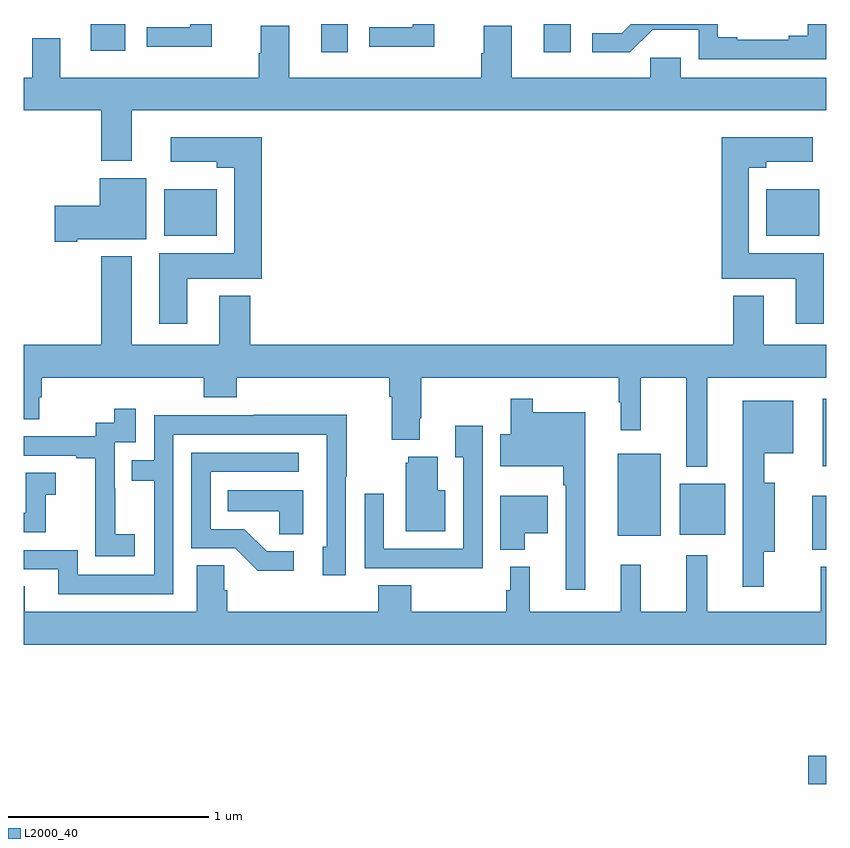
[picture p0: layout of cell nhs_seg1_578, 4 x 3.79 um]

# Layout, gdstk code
import gdstk
lib = gdstk.Library(unit=1e-6, precision=1e-09)
def R(c, l, rs):  # rectangles x0, y0, x1, y1
    for r in rs: c.add(gdstk.rectangle(r[:2], r[2:], *l))
def P(c, l, *ps):  # polygons
    for p in ps: c.add(gdstk.Polygon(p, *l))
L2000_40 = (2000, 40)

nhs_seg1_578 = lib.new_cell('nhs_seg1_578')
R(nhs_seg1_578, L2000_40, [(146.91,512.41,147,512.552), (146.93,513.578,147,513.847), (145.961,513.647,146.176,514.057), (146.27,513.653,146.497,513.907), (146.982,513.995,147,514.33), (143.699,515.144,143.962,515.374), (146.702,515.144,146.965,515.374), (144.482,516.057,144.616,516.199), (145.592,516.057,145.726,516.199), (143.334,516.066,143.506,516.199)])
P(nhs_seg1_578, L2000_40, [(145.047,516.199),(144.939,516.199),(144.939,516.184),(144.723,516.184),(144.723,516.086),(145.047,516.086)],
  [(147,516.199),(146.909,516.199),(146.909,516.14),(146.813,516.14),(146.813,516.12),(146.557,516.12),(146.557,516.134),(146.46,516.134),(146.46,516.199),(146.026,516.199),(145.981,516.154),(145.833,516.154),(145.833,516.057),(146.022,516.057),(146.135,516.17),(146.364,516.17),(146.364,516.024),(147,516.024)],
  [(143.937,516.199),(143.829,516.199),(143.829,516.184),(143.613,516.184),(143.613,516.086),(143.937,516.086)],
  [(143.539,515.768),(147,515.768),(147,515.932),(146.275,515.932),(146.275,516.03),(146.124,516.03),(146.124,515.932),(145.432,515.932),(145.432,516.19),(145.292,516.19),(145.292,516.053),(145.28,516.053),(145.28,515.932),(144.322,515.932),(144.322,516.19),(144.182,516.19),(144.182,516.053),(144.17,516.053),(144.17,515.932),(143.182,515.932),(143.182,516.127),(143.042,516.127),(143.042,515.932),(143,515.932),(143,515.768),(143.387,515.768),(143.387,515.516),(143.539,515.516)],
  [(143.815,514.928),(144.185,514.928),(144.185,515.635),(143.733,515.635),(143.733,515.513),(143.963,515.513),(143.963,515.483),(144.05,515.483),(144.05,515.056),(143.675,515.056),(143.675,514.704),(143.815,514.704)],
  [(146.989,515.056),(146.614,515.056),(146.614,515.483),(146.701,515.483),(146.701,515.513),(146.932,515.513),(146.932,515.635),(146.48,515.635),(146.48,514.928),(146.849,514.928),(146.849,514.704),(146.989,514.704)],
  [(143.266,515.126),(143.611,515.126),(143.611,515.431),(143.378,515.431),(143.378,515.292),(143.154,515.292),(143.154,515.114),(143.266,515.114)],
  [(146.407,514.436),(147,514.436),(147,514.6),(146.689,514.6),(146.689,514.843),(146.537,514.843),(146.537,514.6),(144.128,514.6),(144.128,514.843),(143.975,514.843),(143.975,514.6),(143.539,514.6),(143.539,515.041),(143.387,515.041),(143.387,514.6),(143,514.6),(143,514.228),(143.077,514.228),(143.077,514.338),(143.09,514.338),(143.09,514.436),(143.897,514.436),(143.897,514.337),(144.062,514.337),(144.062,514.436),(144.821,514.436),(144.821,514.34),(144.833,514.34),(144.833,514.127),(144.973,514.127),(144.973,514.234),(144.981,514.234),(144.981,514.436),(145.965,514.436),(145.965,514.313),(145.976,514.313),(145.976,514.173),(146.076,514.173),(146.076,514.436),(146.303,514.436),(146.303,513.992),(146.407,513.992)],
  [(145.798,514.264),(145.537,514.264),(145.537,514.33),(145.427,514.33),(145.427,514.153),(145.374,514.153),(145.374,513.995),(145.689,513.995),(145.689,513.899),(145.701,513.899),(145.701,513.378),(145.798,513.378)],
  [(146.689,513.569),(146.743,513.569),(146.743,513.913),(146.692,513.913),(146.692,514.058),(146.836,514.058),(146.836,514.321),(146.585,514.321),(146.585,513.393),(146.689,513.393)],
  [(143.554,513.655),(143.456,513.655),(143.456,513.884),(143.454,513.884),(143.454,514.113),(143.559,514.113),(143.559,514.282),(143.451,514.282),(143.451,514.212),(143.358,514.212),(143.358,514.143),(143,514.143),(143,514.047),(143.261,514.047),(143.261,514.035),(143.357,514.035),(143.357,513.751),(143.356,513.751),(143.356,513.545),(143.554,513.545)],
  [(143.745,514.152),(144.51,514.152),(144.51,513.594),(144.491,513.594),(144.491,513.45),(144.606,513.45),(144.606,513.943),(144.609,513.943),(144.609,514.25),(144.145,514.25),(144.145,514.248),(143.649,514.248),(143.649,514.023),(143.539,514.023),(143.539,513.922),(143.649,513.922),(143.649,513.453),(143.268,513.453),(143.268,513.576),(143,513.576),(143,513.48),(143.171,513.48),(143.171,513.357),(143.745,513.357)],
  [(145.287,514.195),(145.151,514.195),(145.151,514.039),(145.191,514.039),(145.191,513.582),(144.795,513.582),(144.795,513.856),(144.699,513.856),(144.699,513.486),(145.015,513.486),(145.015,513.485),(145.287,513.485)],
  [(144.346,513.57),(144.211,513.57),(144.1,513.681),(143.931,513.681),(143.931,513.966),(144.37,513.966),(144.37,514.062),(143.835,514.062),(143.835,513.585),(144.054,513.585),(144.167,513.472),(144.346,513.472)],
  [(145.102,513.874),(145.063,513.874),(145.063,514.042),(144.917,514.042),(144.917,514.011),(144.905,514.011),(144.905,513.671),(145.102,513.671)],
  [(143.109,513.851),(143.158,513.851),(143.158,513.961),(143.01,513.961),(143.01,513.762),(143,513.762),(143,513.666),(143.109,513.666)],
  [(144.394,513.874),(144.016,513.874),(144.016,513.77),(144.273,513.77),(144.273,513.655),(144.394,513.655)],
  [(145.498,513.659),(145.612,513.659),(145.612,513.847),(145.376,513.847),(145.376,513.578),(145.498,513.578)],
  [(147,513.493),(146.974,513.493),(146.974,513.268),(146.407,513.268),(146.407,513.55),(146.303,513.55),(146.303,513.268),(146.076,513.268),(146.076,513.502),(145.976,513.502),(145.976,513.268),(145.523,513.268),(145.523,513.493),(145.424,513.493),(145.424,513.375),(145.405,513.375),(145.405,513.268),(144.932,513.268),(144.932,513.401),(144.767,513.401),(144.767,513.268),(144.014,513.268),(144.014,513.377),(144,513.377),(144,513.5),(143.861,513.5),(143.861,513.268),(143.005,513.268),(143.005,513.395),(143,513.395),(143,513.104),(147,513.104)])

lib.write_gds('nhs_seg1_578.gds')
